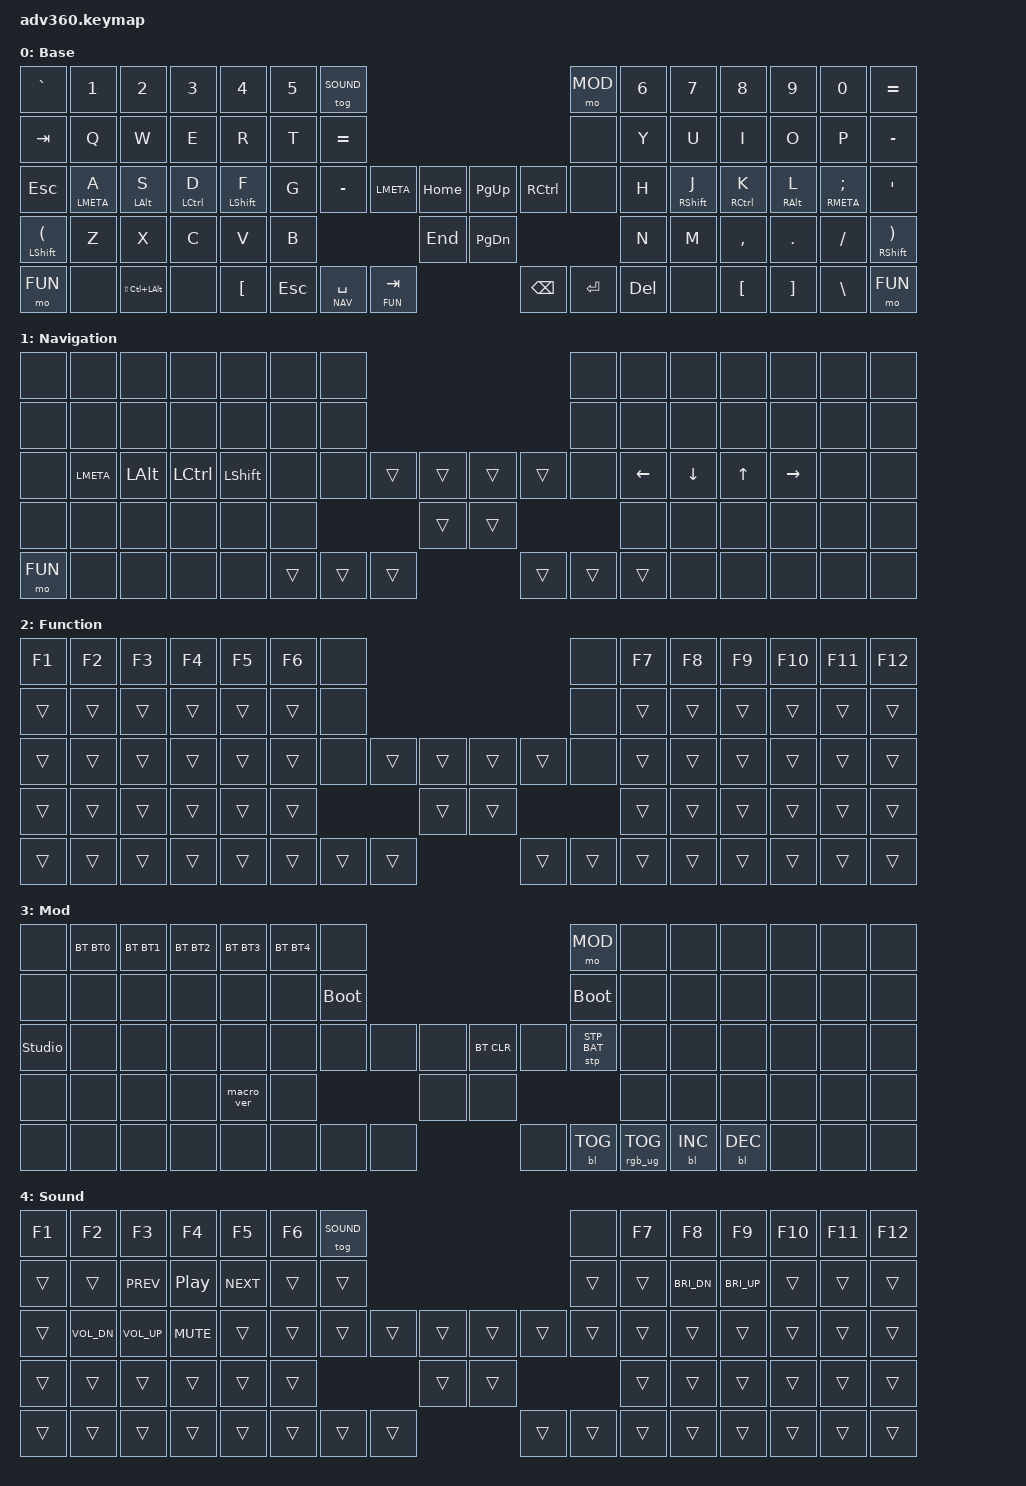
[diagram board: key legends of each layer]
// This file is tangled. Don't edit directly!

#include <behaviors.dtsi>
#include <dt-bindings/zmk/stp.h>
#include <dt-bindings/zmk/backlight.h>
#include <dt-bindings/zmk/bt.h>
#include <dt-bindings/zmk/keys.h>
#include <dt-bindings/zmk/rgb.h>


// Modifiers
#define HYPER LS(LC(LA(LGUI)))
#define MEH LS(LC(LALT))
#define CAG LC(LA(LGUI))

/// Home-row Modifiers
#define HRL(k1,k2,k3,k4) &hm LMETA k1 &hm LALT k2 &hm LCTRL k3 &hm LSHFT k4
#define HRR(k1,k2,k3,k4) &hm RSHFT k1 &hm RCTRL k2 &hm RALT k3 &hm RMETA k4

// Behaviors
// helps narrow keyb table
#define LPAR_SH &mt LSHFT LPAR
#define RPAR_SH &mt RSHFT RPAR
#define CTL_ESC &mt LCTRL ESC
#define GUI_TAB &mt LGUI TAB

// Bluetooth profiles: make multiple BT pairings
#define BT0 BT_SEL 0
#define BT1 BT_SEL 1
#define BT2 BT_SEL 2
#define BT3 BT_SEL 3
#define BT4 BT_SEL 4
#define BTCLR BT_CLR

// Layer aliases (auto-generated)
#define BASE 0
#define NAV 1
#define FUN 2
#define MOD 3
#define SOUND 4



// Behaviors
/ {
    behaviors {
        #include "macros.dtsi"
        #include "version.dtsi"

        hm: homerow_mods {
            compatible = "zmk,behavior-hold-tap";
            flavor = "tap-preferred";
            tapping-term-ms = <200>;
            quick_tap_ms = <175>;
            #binding-cells = <2>;
            bindings = <&kp>, <&kp>;
        };
        slt: spacebar_layer_tap {
            compatible = "zmk,behavior-hold-tap";
            flavor = "tap-preferred";
            tapping-term-ms = <200>;
            #binding-cells = <2>;
            bindings = <&mo>, <&kp>;
        };
    };

    keymap {
        compatible = "zmk,keymap";

        base {
            display-name = "Base";
            bindings = <
                &kp GRAVE &kp N1      &kp N2     &kp N3      &kp N4      &kp N5 &tog SOUND                                                                 &mo MOD &kp N6 &kp N7      &kp N8      &kp N9     &kp N0         &kp EQUAL
                &kp TAB   &kp Q       &kp W      &kp E       &kp R       &kp T  &kp EQUAL                                                                  &none   &kp Y  &kp U       &kp I       &kp O      &kp P          &kp MINUS
                &kp ESC   &hm LMETA A &hm LALT S &hm LCTRL D &hm LSHFT F &kp G  &kp MINUS          &kp LMETA      &kp HOME     &kp PG_UP &kp RCTRL         &none   &kp H  &hm RSHFT J &hm RCTRL K &hm RALT L &hm RMETA SEMI &kp SQT  
                LPAR_SH   &kp Z       &kp X      &kp C       &kp V       &kp B                                    &kp END      &kp PG_DN                           &kp N  &kp M       &kp COMMA   &kp DOT    &kp FSLH       RPAR_SH  
                &mo FUN   &none       &kp MEH    &none       &kp LBKT                      &kp ESC &slt NAV SPACE &slt FUN TAB &kp BSPC  &kp ENTER &kp DEL                &none       &kp LBKT    &kp RBKT   &kp BSLH       &mo FUN  
            >;
        };
        nav {
            display-name = "Navigation";
            bindings = <
                &none   &none     &none    &none     &none     &none &none                                           &none &none    &none    &none  &none     &none &none
                &none   &none     &none    &none     &none     &none &none                                           &none &none    &none    &none  &none     &none &none
                &none   &kp LMETA &kp LALT &kp LCTRL &kp LSHFT &none &none        &trans &trans &trans &trans        &none &kp LEFT &kp DOWN &kp UP &kp RIGHT &none &none
                &none   &none     &none    &none     &none     &none                     &trans &trans                     &none    &none    &none  &none     &none &none
                &mo FUN &none     &none    &none     &none                 &trans &trans &trans &trans &trans &trans                &none    &none  &none     &none &none
            >;
        };
        fun {
            display-name = "Function";
            bindings = <
                &kp F1 &kp F2 &kp F3 &kp F4 &kp F5 &kp F6 &none                                           &none &kp F7 &kp F8 &kp F9 &kp F10 &kp F11 &kp F12
                &trans &trans &trans &trans &trans &trans &none                                           &none &trans &trans &trans &trans  &trans  &trans 
                &trans &trans &trans &trans &trans &trans &none        &trans &trans &trans &trans        &none &trans &trans &trans &trans  &trans  &trans 
                &trans &trans &trans &trans &trans &trans                     &trans &trans                     &trans &trans &trans &trans  &trans  &trans 
                &trans &trans &trans &trans &trans              &trans &trans &trans &trans &trans &trans              &trans &trans &trans  &trans  &trans 
            >;
        };
        mod {
            display-name = "Mod";
            bindings = <
                &none          &bt BT0 &bt BT1 &bt BT2 &bt BT3    &bt BT4 &none                                                              &mo MOD      &none &none      &none      &none &none &none
                &none          &none   &none   &none   &none      &none   &bootloader                                                        &bootloader  &none &none      &none      &none &none &none
                &studio_unlock &none   &none   &none   &none      &none   &none             &none &none &bt BTCLR &none                      &stp STP_BAT &none &none      &none      &none &none &none
                &none          &none   &none   &none   &macro_ver &none                           &none &none                                             &none &none      &none      &none &none &none
                &none          &none   &none   &none   &none                          &none &none &none &none     &bl BL_TOG &rgb_ug RGB_TOG                    &bl BL_INC &bl BL_DEC &none &none &none
            >;
        };
        sound {
            display-name = "Sound";
            bindings = <
                &kp F1 &kp F2       &kp F3       &kp F4     &kp F5     &kp F6 &tog SOUND                                           &none  &kp F7 &kp F8       &kp F9       &kp F10 &kp F11 &kp F12
                &trans &trans       &kp C_PREV   &kp C_PP   &kp C_NEXT &trans &trans                                               &trans &trans &kp C_BRI_DN &kp C_BRI_UP &trans  &trans  &trans 
                &trans &kp C_VOL_DN &kp C_VOL_UP &kp C_MUTE &trans     &trans &trans            &trans &trans &trans &trans        &trans &trans &trans       &trans       &trans  &trans  &trans 
                &trans &trans       &trans       &trans     &trans     &trans                          &trans &trans                      &trans &trans       &trans       &trans  &trans  &trans 
                &trans &trans       &trans       &trans     &trans                       &trans &trans &trans &trans &trans &trans               &trans       &trans       &trans  &trans  &trans 
            >;
        };
    };
};
